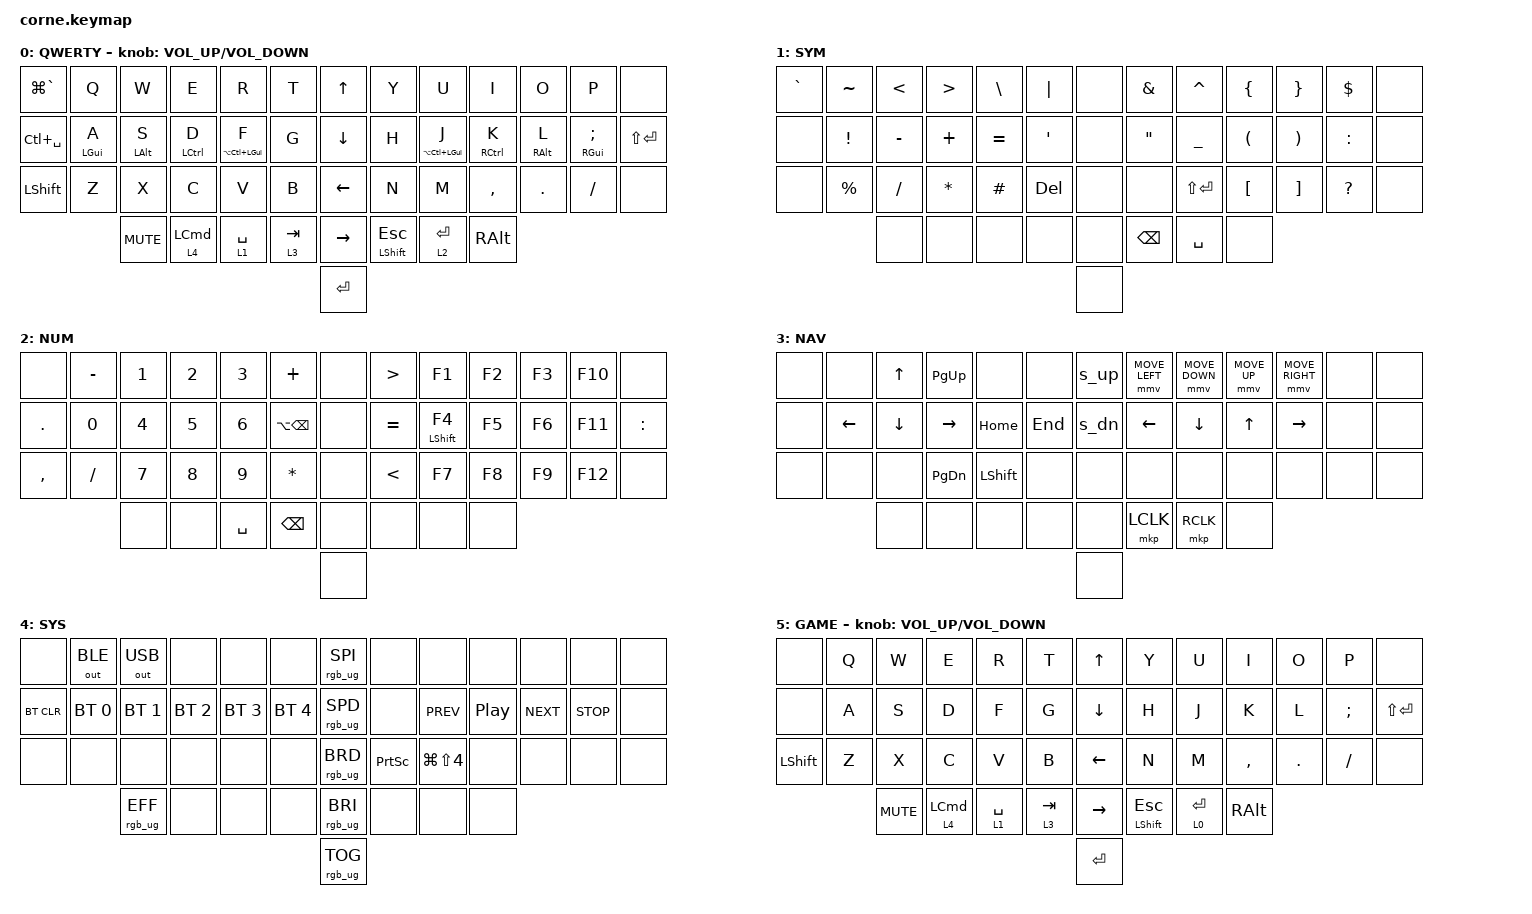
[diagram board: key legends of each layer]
#include <behaviors/mouse_keys.dtsi>
#include <dt-bindings/zmk/mouse.h>
#include <behaviors.dtsi>
#include <dt-bindings/zmk/bt.h>
#include <dt-bindings/zmk/keys.h>
#include <dt-bindings/zmk/outputs.h>
#include <dt-bindings/zmk/rgb.h>

#define ZMK_MOUSE_DEFAULT_MOVE_VAL 1200  // 600
#define ZMK_MOUSE_DEFAULT_SCRL_VAL 20    // 10
#define U_MS_U &mmv MOVE_UP
#define U_MS_D &mmv MOVE_DOWN
#define U_MS_L &mmv MOVE_LEFT
#define U_MS_R &mmv MOVE_RIGHT


/ {
    behaviors {
        snake_caps: snake_caps {
            compatible = "zmk,behavior-caps-word";
            label = "SNAKE_CAPS";
            #binding-cells = <0>;
            continue-list = <UNDER DOT MINUS DEL BACKSPACE>;
        };

        td_copy_paste: td_copy_paste {
            compatible = "zmk,behavior-tap-dance";
            label = "TD_COPY_PASTE";
            #binding-cells = <0>;
            bindings = <&kp ESC>, <&kp LG(C)>, <&kp LG(V)>;
        };

        htrl: htrl {
            compatible = "zmk,behavior-hold-tap";
            label = "HTRL";
            bindings = <&none>, <&none>;

            #binding-cells = <2>;
            tapping-term-ms = <200>;
        };

        td_d_backspace: td_d_backspace {
            compatible = "zmk,behavior-tap-dance";
            label = "TD_D_BACKSPACE";
            #binding-cells = <0>;
            bindings = <&kp BACKSPACE>, <&kp LA(BACKSPACE)>;
        };

        hmr: hmr {
            compatible = "zmk,behavior-hold-tap";
            label = "HMR";
            bindings = <&kp>, <&kp>;

            #binding-cells = <2>;
            flavor = "balanced";
            tapping-term-ms = <280>;
            quick-tap-ms = <175>;
            require-prior-idle-ms = <150>;
            hold-trigger-on-release;
            hold-trigger-key-positions = <46 45 44 42 41 40 31 18 5 4 3 2 1 0 13 26 27 14 15 29 16 17 30 28>;
        };

        hml: hml {
            compatible = "zmk,behavior-hold-tap";
            label = "HML";
            bindings = <&kp>, <&kp>;

            #binding-cells = <2>;
            flavor = "balanced";
            tapping-term-ms = <280>;
            quick-tap-ms = <175>;
            require-prior-idle-ms = <150>;
            hold-trigger-on-release;
            hold-trigger-key-positions = <46 45 44 42 41 40 7 20 33 34 21 8 9 22 35 36 23 10 11 24 37 38 25 12>;
        };

        mmv {
            acceleration-exponent = <1>;      // 1
            time-to-max-speed-ms = <900>;    // 40
            delay-ms = <0>;                   // 0
        };

        msc {
            acceleration-exponent = <1>;      // 0
            time-to-max-speed-ms = <400>;      // 500
            delay-ms = <0>;                   // 10
        };
    };

    rgb_encoder: rgb_encoder {
        compatible = "zmk,behavior-sensor-rotate";
        label = "RGB_ENCODER";
        #sensor-binding-cells = <0>;
        bindings = <&rgb_ug RGB_BRI>, <&rgb_ug RGB_BRD>;
    };

    scroll_encoder: scroll_encoder {
        compatible = "zmk,behavior-sensor-rotate";
        #sensor-binding-cells = <0>;
        bindings = <&msc SCRL_DOWN>, <&msc SCRL_UP>;

        tap-ms = <30>;
    };

    combos {
        compatible = "zmk,combos";

        ty_snake {
            bindings = <&caps_word>;
            key-positions = <5 7>;
        };

        gaming_toggle {
            bindings = <&tog 5>;
            key-positions = <0 12>;
        };
    };

    macros {
        s_up: s_up {
            compatible = "zmk,behavior-macro";
            #binding-cells = <0>;
            bindings = <&msc SCRL_UP>;
            label = "S_UP";
        };

        s_dn: s_dn {
            compatible = "zmk,behavior-macro";
            #binding-cells = <0>;
            bindings = <&msc SCRL_DOWN>;
            label = "S_DN";
        };
    };

    keymap {
        compatible = "zmk,keymap";

        default_layer {
            // --------------------------------------------------------------------------------
            // |  TAB |  Q  |  W  |  E  |  R  |  T  |                ↑    |  Y  |  U   |  I  |  O  |  P  | BKSP |      &kp UP_ARROW 
            // | SHIFT |  A  |  S  |  D  |  F  |  G  |               ↓    |  H  |  J   |  K  |  L  |  ;  |  '   | 
            // | CTRL |  Z  |  X  |  C  |  V  |  B  |                ←    |  N  |  M   |  ,  |  .  |  /  | ESC  |
            //                    | GUI | LWR | SPC |                →    | ENT | RSE  | ALT |
            //                                                      enter

            bindings = <
&kp LG(GRAVE)  &kp Q            &kp W        &kp E               &kp R                    &kp T        &kp UP_ARROW     &kp Y               &kp U                    &kp I         &kp O        &kp P                &none
&kp LC(SPACE)  &hml LEFT_GUI A  &hml LALT S  &hml LCTRL D        &hml LA(LC(LEFT_GUI)) F  &kp G        &kp DOWN_ARROW   &kp H               &hmr LA(LC(LEFT_GUI)) J  &hmr RCTRL K  &hmr RALT L  &hmr RIGHT_GUI SEMI  &kp LS(RET)
&kp LSHIFT     &kp Z            &kp X        &kp C               &kp V                    &kp B        &kp LEFT_ARROW   &kp N               &kp M                    &kp COMMA     &kp DOT      &kp FSLH             &none
                                &kp K_MUTE   &lt 4 LEFT_COMMAND  &lt 1 SPACE              &lt 3 TAB    &kp RIGHT_ARROW  &mt LEFT_SHIFT ESC  &lt 2 RET                &kp RALT
                                                                                                       &kp ENTER
            >;

            label = "QWERTY";
            sensor-bindings = <&inc_dec_kp C_VOLUME_UP C_VOLUME_DOWN>;
        };

        symbols_layer {
            bindings = <
&kp GRAVE  &kp TILDE    &kp LT     &kp GT     &kp BSLH   &kp PIPE    &none  &kp AMPS       &kp CARET       &kp LBRC  &kp RBRC  &kp DOLLAR    &none
&none      &kp EXCL     &kp MINUS  &kp PLUS   &kp EQUAL  &kp SQT     &none  &kp DQT        &kp UNDERSCORE  &kp LPAR  &kp RPAR  &kp COLON     &none
&none      &kp PERCENT  &kp SLASH  &kp ASTRK  &kp HASH   &kp DEL     &none  &none          &kp LS(RET)     &kp LBKT  &kp RBKT  &kp QUESTION  &none
                        &none      &none      &none      &none       &none  &kp BACKSPACE  &kp SPACE       &none
                                                                     &none
            >;

            label = "SYM";
        };

        numbers_layer {
            bindings = <
&none      &kp MINUS  &kp N1  &kp N2  &kp N3     &kp PLUS             &none  &kp GREATER_THAN  &kp F1          &kp F2  &kp F3  &kp F10  &none
&kp DOT    &kp N0     &kp N4  &kp N5  &kp N6     &kp LA(BACKSPACE)    &none  &kp EQUAL         &hmr LSHIFT F4  &kp F5  &kp F6  &kp F11  &kp COLON
&kp COMMA  &kp FSLH   &kp N7  &kp N8  &kp N9     &kp ASTERISK         &none  &kp LT            &kp F7          &kp F8  &kp F9  &kp F12  &none
                      &none   &none   &kp SPACE  &kp BACKSPACE        &none  &none             &none           &none
                                                                      &none
            >;

            label = "NUM";
        };

        navigation_layer {
            bindings = <
&none  &none     &kp UP    &kp PG_UP  &none           &none      &s_up  &mmv MOVE_LEFT  &mmv MOVE_DOWN  &mmv MOVE_UP  &mmv MOVE_RIGHT  &none  &none
&none  &kp LEFT  &kp DOWN  &kp RIGHT  &kp HOME        &kp END    &s_dn  &kp LEFT        &kp DOWN        &kp UP        &kp RIGHT        &none  &none
&none  &none     &none     &kp PG_DN  &kp LEFT_SHIFT  &none      &none  &none           &none           &none         &none            &none  &none
                 &none     &none      &none           &none      &none  &mkp LCLK       &mkp RCLK       &none
                                                                 &none
            >;

            label = "NAV";
        };

        system_layer {
            bindings = <
&none       &out OUT_BLE  &out OUT_USB     &none         &none         &none           &rgb_ug RGB_SPI  &none            &none           &none     &none       &none       &none
&bt BT_CLR  &bt BT_SEL 0  &bt BT_SEL 1     &bt BT_SEL 2  &bt BT_SEL 3  &bt BT_SEL 4    &rgb_ug RGB_SPD  &none            &kp C_PREV      &kp C_PP  &kp C_NEXT  &kp C_STOP  &none
&none       &none         &none            &none         &none         &none           &rgb_ug RGB_BRD  &kp PRINTSCREEN  &kp LG(LS(N4))  &none     &none       &none       &none
                          &rgb_ug RGB_EFF  &none         &none         &none           &rgb_ug RGB_BRI  &none            &none           &none
                                                                                       &rgb_ug RGB_TOG
            >;

            label = "SYS";
        };

        gaming_layer {
            label = "GAME";
            bindings = <
&none       &kp Q  &kp W       &kp E               &kp R        &kp T        &kp UP_ARROW     &kp Y               &kp U      &kp I      &kp O    &kp P     &none
&none       &kp A  &kp S       &kp D               &kp F        &kp G        &kp DOWN_ARROW   &kp H               &kp J      &kp K      &kp L    &kp SEMI  &kp LS(RET)
&kp LSHIFT  &kp Z  &kp X       &kp C               &kp V        &kp B        &kp LEFT_ARROW   &kp N               &kp M      &kp COMMA  &kp DOT  &kp FSLH  &none
                   &kp K_MUTE  &lt 4 LEFT_COMMAND  &lt 1 SPACE  &lt 3 TAB    &kp RIGHT_ARROW  &mt LEFT_SHIFT ESC  &lt 0 RET  &kp RALT
                                                                             &kp ENTER
            >;

            sensor-bindings = <&inc_dec_kp C_VOLUME_UP C_VOLUME_DOWN>;
        };
    };
};
